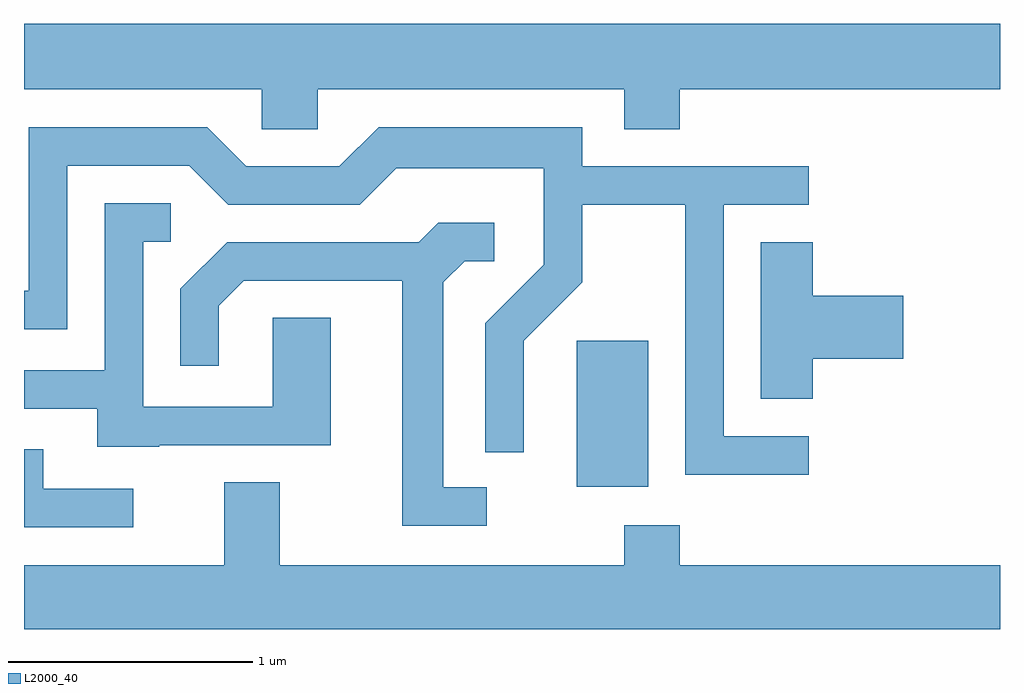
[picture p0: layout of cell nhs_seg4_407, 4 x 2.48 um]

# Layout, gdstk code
import gdstk
lib = gdstk.Library(unit=1e-6, precision=1e-09)
def R(c, l, rs):  # rectangles x0, y0, x1, y1
    for r in rs: c.add(gdstk.rectangle(r[:2], r[2:], *l))
def P(c, l, *ps):  # polygons
    for p in ps: c.add(gdstk.Polygon(p, *l))
L2000_40 = (2000, 40)

nhs_seg4_407 = lib.new_cell('nhs_seg4_407')
R(nhs_seg4_407, L2000_40, [(197.876,1388.566,198.169,1389.164)])
P(nhs_seg4_407, L2000_40, [(196.814,1390.196),(198.071,1390.196),(198.071,1390.031),(198.299,1390.031),(198.299,1390.196),(199.611,1390.196),(199.611,1390.464),(195.611,1390.464),(195.611,1390.196),(196.586,1390.196),(196.586,1390.031),(196.814,1390.031)],
  [(198.828,1388.774),(198.479,1388.774),(198.479,1389.721),(198.828,1389.721),(198.828,1389.879),(197.899,1389.879),(197.899,1390.039),(197.064,1390.039),(196.904,1389.879),(196.522,1389.879),(196.362,1390.039),(195.631,1390.039),(195.631,1389.369),(195.611,1389.369),(195.611,1389.211),(195.789,1389.211),(195.789,1389.881),(196.289,1389.881),(196.449,1389.721),(196.987,1389.721),(197.137,1389.871),(197.741,1389.871),(197.741,1389.477),(197.501,1389.237),(197.501,1388.708),(197.659,1388.708),(197.659,1389.164),(197.899,1389.404),(197.899,1389.721),(198.321,1389.721),(198.321,1388.616),(198.828,1388.616)],
  [(196.165,1388.736),(196.869,1388.736),(196.869,1389.259),(196.631,1389.259),(196.631,1388.894),(196.099,1388.894),(196.099,1389.571),(196.213,1389.571),(196.213,1389.729),(195.941,1389.729),(195.941,1389.044),(195.611,1389.044),(195.611,1388.886),(195.911,1388.886),(195.911,1388.731),(196.165,1388.731)],
  [(197.508,1388.564),(197.329,1388.564),(197.329,1389.404),(197.417,1389.491),(197.538,1389.491),(197.538,1389.649),(197.309,1389.649),(197.229,1389.569),(196.444,1389.569),(196.251,1389.377),(196.251,1389.063),(196.409,1389.063),(196.409,1389.309),(196.512,1389.411),(197.161,1389.411),(197.161,1388.406),(197.508,1388.406)],
  [(198.844,1389.091),(199.214,1389.091),(199.214,1389.349),(198.844,1389.349),(198.844,1389.569),(198.631,1389.569),(198.631,1388.926),(198.844,1388.926)],
  [(196.058,1388.559),(195.689,1388.559),(195.689,1388.719),(195.611,1388.719),(195.611,1388.401),(196.058,1388.401)],
  [(199.611,1388.244),(198.299,1388.244),(198.299,1388.409),(198.071,1388.409),(198.071,1388.244),(196.659,1388.244),(196.659,1388.584),(196.431,1388.584),(196.431,1388.244),(195.611,1388.244),(195.611,1387.982),(199.611,1387.982)])

lib.write_gds('nhs_seg4_407.gds')
